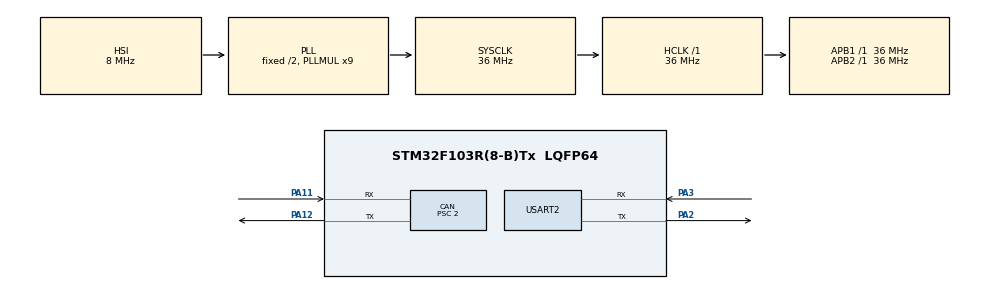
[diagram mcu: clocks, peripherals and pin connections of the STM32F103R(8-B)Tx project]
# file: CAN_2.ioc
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CAN.BS1=CAN_BS1_15TQ
CAN.BS2=CAN_BS2_2TQ
CAN.CalculateBaudRate=1000000
CAN.CalculateTimeBit=1000
CAN.CalculateTimeQuantum=55.55555555555556
CAN.Prescaler=2
CAN.SJW=CAN_SJW_1TQ
Mcu.Family=STM32F1
Mcu.Name=STM32F103R(8-B)Tx
Mcu.Package=LQFP64
NVIC.CAN1_RX1_IRQn=true\:0\:0\:false\:false\:true\:true\:true\:true
NVIC.PriorityGroup=NVIC_PRIORITYGROUP_4
NVIC.USB_HP_CAN1_TX_IRQn=true\:0\:0\:false\:false\:true\:true\:true\:true
NVIC.USB_LP_CAN1_RX0_IRQn=true\:0\:0\:false\:false\:true\:true\:true\:true
PA11.Mode=CAN_Activate
PA11.Signal=CAN_RX
PA12.Mode=CAN_Activate
PA12.Signal=CAN_TX
PA13.Mode=Serial_Wire
PA13.Signal=SYS_JTMS-SWDIO
PA14.Mode=Serial_Wire
PA14.Signal=SYS_JTCK-SWCLK
PA2.Mode=Asynchronous
PA2.Signal=USART2_TX
PA3.Mode=Asynchronous
PA3.Signal=USART2_RX
PC14-OSC32_IN.Mode=LSE-External-Clock-Source
PC14-OSC32_IN.Signal=RCC_OSC32_IN
PC15-OSC32_OUT.Mode=LSE-External-Clock-Source
PC15-OSC32_OUT.Signal=RCC_OSC32_OUT
ProjectManager.HeapSize=0x200
ProjectManager.StackSize=0x400
ProjectManager.TargetToolchain=STM32CubeIDE
RCC.AHBFreq_Value=36000000
RCC.APB1Freq_Value=36000000
RCC.APB1TimFreq_Value=36000000
RCC.APB2Freq_Value=36000000
RCC.APB2TimFreq_Value=36000000
RCC.HCLKFreq_Value=36000000
RCC.PLLMUL=RCC_PLL_MUL9
RCC.SYSCLKFreq_VALUE=36000000
RCC.SYSCLKSource=RCC_SYSCLKSOURCE_PLLCLK
RCC.USBFreq_Value=36000000
USART2.VirtualMode=VM_ASYNC
board=custom

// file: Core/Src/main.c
/* USER CODE BEGIN Header */
/**
  ******************************************************************************
  * @file           : main.c
  * @brief          : Main program body
  ******************************************************************************
  * @attention
  *
  * Copyright (c) 2022 STMicroelectronics.
  * All rights reserved.
  *
  * This software is licensed under terms that can be found in the LICENSE file
  * in the root directory of this software component.
  * If no LICENSE file comes with this software, it is provided AS-IS.
  *
  ******************************************************************************
  */
/* USER CODE END Header */
#include "main.h"

CAN_HandleTypeDef hcan;

UART_HandleTypeDef huart2;

/* USER CODE BEGIN PV */
CAN_FilterTypeDef sFilterConfig;
CAN_RxHeaderTypeDef rxheader;
uint8_t RxData[8];
/* USER CODE END PV */

void SystemClock_Config(void);
static void MX_GPIO_Init(void);
static void MX_CAN_Init(void);
static void MX_USART2_UART_Init(void);

/* USER CODE BEGIN 0 */
int _write(int file, char *ptr, int len){
	HAL_UART_Transmit(&huart2, (char*)ptr, (uint16_t) len, 100);
	return(len);
}

void HAL_CAN_RxFifo0MsgPendingCallback(CAN_HandleTypeDef *CanHandle){
	printf("receive success\r\n");
	if(HAL_CAN_GetRxMessage(CanHandle, CAN_RX_FIFO0, &rxheader, RxData)!=HAL_OK){
		Error_Handler();
	}

	printf("StdID: %04lx, ExtID: %04lx, IDE:%ld, DLC:%ld\r\n",rxheader.StdId,rxheader.ExtId,rxheader.IDE,rxheader.DLC);
	printf("Data:%d %d %d %d %d %d %d %d\r\n\r\n", RxData[0], RxData[1], RxData[2], RxData[3], RxData[4], RxData[5], RxData[6],RxData[7]);
	memset(&rxheader,0x00,sizeof(rxheader));
}

void HAL_CAN_ErrorCallback(CAN_HandleTypeDef *hcan){
	printf("%s\r\n",__FUNCTION__);
}
/* USER CODE END 0 */

int main(void)
{

  /* MCU Configuration--------------------------------------------------------*/

  /* Reset of all peripherals, Initializes the Flash interface and the Systick. */
  HAL_Init();

  /* Configure the system clock */
  SystemClock_Config();

  /* Initialize all configured peripherals */
  MX_GPIO_Init();
  MX_CAN_Init();
  MX_USART2_UART_Init();
  /* USER CODE BEGIN 2 */
  printf("CAN receive start\r\n");

  sFilterConfig.FilterBank=0;
  sFilterConfig.FilterMode=CAN_FILTERMODE_IDMASK;
  sFilterConfig.FilterScale=CAN_FILTERSCALE_16BIT;
  sFilterConfig.FilterIdHigh=0x0f<<5;
  sFilterConfig.FilterIdLow=0x00;
  sFilterConfig.FilterMaskIdHigh=0x07f3<<5;
  sFilterConfig.FilterMaskIdLow=0x00;
  sFilterConfig.FilterFIFOAssignment=CAN_RX_FIFO0;
  sFilterConfig.FilterActivation=ENABLE;
  sFilterConfig.SlaveStartFilterBank=14;
  if(HAL_CAN_ConfigFilter(&hcan, &sFilterConfig)!=HAL_OK){
  	  Error_Handler();
    }

  sFilterConfig.FilterBank=1;
  sFilterConfig.FilterMode=CAN_FILTERMODE_IDMASK;
  sFilterConfig.FilterScale=CAN_FILTERSCALE_32BIT;
  sFilterConfig.FilterIdHigh=0xff<<5;
  sFilterConfig.FilterIdLow=0x11<<3;
  sFilterConfig.FilterMaskIdHigh=0xff<<5;
  sFilterConfig.FilterMaskIdLow=0xFF<<3;
  sFilterConfig.FilterFIFOAssignment=CAN_RX_FIFO0;
  sFilterConfig.FilterActivation=ENABLE;
  sFilterConfig.SlaveStartFilterBank=14;
  if(HAL_CAN_ConfigFilter(&hcan, &sFilterConfig)!=HAL_OK){
  	  Error_Handler();
    }

  if(HAL_CAN_Start(&hcan)!=HAL_OK){
	  Error_Handler();
  }
  if(HAL_CAN_ActivateNotification(&hcan, CAN_IT_RX_FIFO0_MSG_PENDING)!=HAL_OK){
	  Error_Handler();
  }

  printf("Can Ready\r\n");
  /* USER CODE END 2 */

  /* Infinite loop */
  while (1)
  {

  }
}

void SystemClock_Config(void)
{
  RCC_OscInitTypeDef RCC_OscInitStruct = {0};
  RCC_ClkInitTypeDef RCC_ClkInitStruct = {0};

  /** Initializes the RCC Oscillators according to the specified parameters
  * in the RCC_OscInitTypeDef structure.
  */
  RCC_OscInitStruct.OscillatorType = RCC_OSCILLATORTYPE_HSI;
  RCC_OscInitStruct.HSIState = RCC_HSI_ON;
  RCC_OscInitStruct.HSICalibrationValue = RCC_HSICALIBRATION_DEFAULT;
  RCC_OscInitStruct.PLL.PLLState = RCC_PLL_ON;
  RCC_OscInitStruct.PLL.PLLSource = RCC_PLLSOURCE_HSI_DIV2;
  RCC_OscInitStruct.PLL.PLLMUL = RCC_PLL_MUL9;
  if (HAL_RCC_OscConfig(&RCC_OscInitStruct) != HAL_OK)
  {
    Error_Handler();
  }

  /** Initializes the CPU, AHB and APB buses clocks
  */
  RCC_ClkInitStruct.ClockType = RCC_CLOCKTYPE_HCLK|RCC_CLOCKTYPE_SYSCLK
                              |RCC_CLOCKTYPE_PCLK1|RCC_CLOCKTYPE_PCLK2;
  RCC_ClkInitStruct.SYSCLKSource = RCC_SYSCLKSOURCE_PLLCLK;
  RCC_ClkInitStruct.AHBCLKDivider = RCC_SYSCLK_DIV1;
  RCC_ClkInitStruct.APB1CLKDivider = RCC_HCLK_DIV1;
  RCC_ClkInitStruct.APB2CLKDivider = RCC_HCLK_DIV1;

  if (HAL_RCC_ClockConfig(&RCC_ClkInitStruct, FLASH_LATENCY_1) != HAL_OK)
  {
    Error_Handler();
  }
}

static void MX_CAN_Init(void)
{

  hcan.Instance = CAN1;
  hcan.Init.Prescaler = 2;
  hcan.Init.Mode = CAN_MODE_NORMAL;
  hcan.Init.SyncJumpWidth = CAN_SJW_1TQ;
  hcan.Init.TimeSeg1 = CAN_BS1_15TQ;
  hcan.Init.TimeSeg2 = CAN_BS2_2TQ;
  hcan.Init.TimeTriggeredMode = DISABLE;
  hcan.Init.AutoBusOff = DISABLE;
  hcan.Init.AutoWakeUp = DISABLE;
  hcan.Init.AutoRetransmission = DISABLE;
  hcan.Init.ReceiveFifoLocked = DISABLE;
  hcan.Init.TransmitFifoPriority = DISABLE;
  if (HAL_CAN_Init(&hcan) != HAL_OK)
  {
    Error_Handler();
  }

}

static void MX_USART2_UART_Init(void)
{

  huart2.Instance = USART2;
  huart2.Init.BaudRate = 115200;
  huart2.Init.WordLength = UART_WORDLENGTH_8B;
  huart2.Init.StopBits = UART_STOPBITS_1;
  huart2.Init.Parity = UART_PARITY_NONE;
  huart2.Init.Mode = UART_MODE_TX_RX;
  huart2.Init.HwFlowCtl = UART_HWCONTROL_NONE;
  huart2.Init.OverSampling = UART_OVERSAMPLING_16;
  if (HAL_UART_Init(&huart2) != HAL_OK)
  {
    Error_Handler();
  }

}

static void MX_GPIO_Init(void)
{

  /* GPIO Ports Clock Enable */
  __HAL_RCC_GPIOC_CLK_ENABLE();
  __HAL_RCC_GPIOA_CLK_ENABLE();

}

void Error_Handler(void)
{
  __disable_irq();
  while (1)
  {
  }
}
